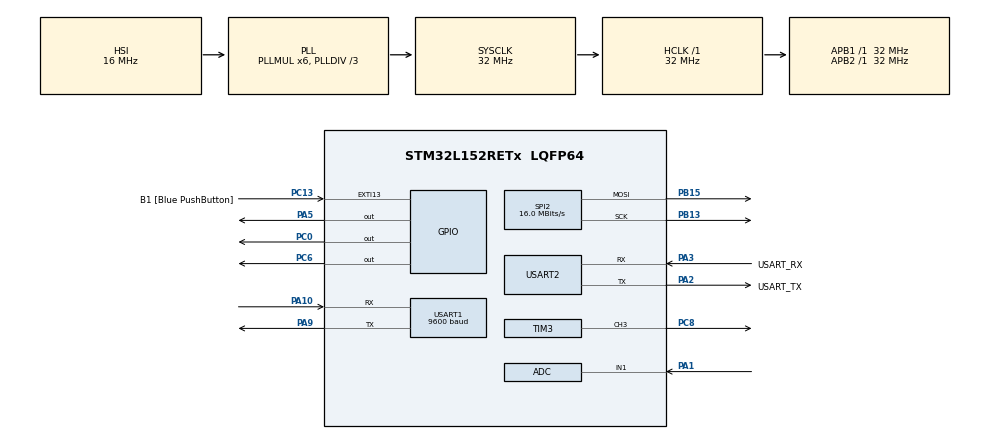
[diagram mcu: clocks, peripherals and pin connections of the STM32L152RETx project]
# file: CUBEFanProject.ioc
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Mcu.Family=STM32L1
PH0-OSC_IN.Signal=RCC_OSC_IN
Dma.TIM3_CH3.0.Mode=DMA_CIRCULAR
SPI2.VirtualType=VM_MASTER
USART1.BaudRate=9600
PA14.GPIO_Label=TCK
Dma.TIM3_CH3.0.PeriphInc=DMA_PINC_DISABLE
PB15.Signal=SPI2_MOSI
PB13.Signal=SPI2_SCK
RCC.SYSCLKSource=RCC_SYSCLKSOURCE_PLLCLK
ProjectManager.StackSize=0x400
RCC.PLLDIV=RCC_PLL_DIV3
NVIC.ADC1_IRQn=true\:0\:0\:false\:false\:true\:true\:true
RCC.HCLKFreq_Value=32000000
PC13-WKUP2.GPIO_Label=B1 [Blue PushButton]
RCC.APB2TimFreq_Value=32000000
TIM3.Period=99
VP_TIM10_VS_ClockSourceINT.Mode=Internal
ADC.Rank-6\#ChannelRegularConversion=1
RCC.AHBFreq_Value=32000000
PH0-OSC_IN.Mode=HSE-External-Clock-Source
RCC.HSE_VALUE=8000000
PC13-WKUP2.Signal=GPXTI13
RCC.PLLMUL=RCC_PLL_MUL6
PC14-OSC32_IN.Mode=LSE-External-Oscillator
RCC.RTCClockSelectionVirtual=RCC_RTCCLKSOURCE_LSE
PA14.Mode=Serial_Wire
TIM3.Prescaler=3199
SPI2.CalculateBaudRate=16.0 MBits/s
NVIC.SPI2_IRQn=true\:0\:0\:false\:false\:true\:true\:true
NVIC.TIM10_IRQn=true\:0\:0\:false\:false\:true\:true\:true
Dma.TIM3_CH3.0.MemInc=DMA_MINC_ENABLE
Mcu.Package=LQFP64
Dma.TIM3_CH3.0.Instance=DMA1_Channel2
SPI2.Mode=SPI_MODE_MASTER
USART2.VirtualMode=VM_ASYNC
RCC.USBOutput=48000000
PA2.GPIO_Label=USART_TX
PA10.Signal=USART1_RX
ADC.Resolution=ADC_RESOLUTION_10B
RCC.APB1TimFreq_Value=32000000
SPI2.Direction=SPI_DIRECTION_2LINES
PB13.Mode=TX_Only_Simplex_Unidirect_Master
NVIC.USART1_IRQn=true\:0\:0\:false\:false\:true\:true\:true
Dma.Request0=TIM3_CH3
VP_TIM3_VS_ClockSourceINT.Mode=Internal
ADC.Channel-6\#ChannelRegularConversion=ADC_CHANNEL_1
PA3.Signal=USART2_RX
PB3.GPIO_Label=SWO
RCC.MSI_VALUE=2097000
TIM10.Prescaler=15999
PC15-OSC32_OUT.Mode=LSE-External-Oscillator
ADC.SamplingTime-6\#ChannelRegularConversion=ADC_SAMPLETIME_48CYCLES
Dma.TIM3_CH3.0.MemDataAlignment=DMA_MDATAALIGN_HALFWORD
PA10.Mode=Asynchronous
Dma.TIM3_CH3.0.Priority=DMA_PRIORITY_LOW
PC8.Signal=S_TIM3_CH3
PC6.Signal=GPIO_Output
PC0.Signal=GPIO_Output
PC14-OSC32_IN.Signal=RCC_OSC32_IN
ADC.ClockPrescaler=ADC_CLOCK_ASYNC_DIV4
SH.S_TIM3_CH3.0=TIM3_CH3,PWM Generation3 CH3
NVIC.USART2_IRQn=true\:0\:0\:false\:false\:true\:true\:true
Dma.TIM3_CH3.0.Direction=DMA_MEMORY_TO_PERIPH
PA13.Signal=SYS_JTMS-SWDIO
PA3.Mode=Asynchronous
TIM3.Channel-PWM\ Generation3\ CH3=TIM_CHANNEL_3
PA9.Mode=Asynchronous
NVIC.DMA1_Channel2_IRQn=true\:0\:0\:false\:false\:true\:false\:true
ProjectManager.TargetToolchain=SW4STM32
PA9.Signal=USART1_TX
ADC.NbrOfConversionFlag=1
PC15-OSC32_OUT.Signal=RCC_OSC32_OUT
PA1.Signal=ADC_IN1
PA5.Signal=GPIO_Output
board=NUCLEO-L152RE
RCC.VCOOutputFreq_Value=96000000
PB15.Mode=TX_Only_Simplex_Unidirect_Master
TIM10.Period=3199
RCC.APB2Freq_Value=32000000
PA1.Mode=IN1
PH1-OSC_OUT.Signal=RCC_OSC_OUT
ADC.EOCSelection=ADC_EOC_SINGLE_CONV
PA13.Mode=Serial_Wire
Mcu.Name=STM32L152RETx
PA13.GPIO_Label=TMS
PA2.Signal=USART2_TX
RCC.48MHZClocksFreq_Value=48000000
PB3.Signal=SYS_JTDO-TRACESWO
RCC.SYSCLKFreq_VALUE=32000000
USART1.VirtualMode=VM_ASYNC
Dma.TIM3_CH3.0.PeriphDataAlignment=DMA_PDATAALIGN_HALFWORD
PA14.Signal=SYS_JTCK-SWCLK
ProjectManager.HeapSize=0x200
RCC.HSI_VALUE=16000000
NVIC.PriorityGroup=NVIC_PRIORITYGROUP_0
PA2.Mode=Asynchronous
RCC.APB1Freq_Value=32000000
ADC.ContinuousConvMode=ENABLE
PA3.GPIO_Label=USART_RX

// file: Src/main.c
/* USER CODE BEGIN Header */
/**
  ******************************************************************************
  * @file           : main.c
  * @brief          : Main program body
  ******************************************************************************
  * @attention
  *
  * <h2><center>&copy; Copyright (c) 2020 STMicroelectronics.
  * All rights reserved.</center></h2>
  *
  * This software component is licensed by ST under BSD 3-Clause license,
  * the "License"; You may not use this file except in compliance with the
  * License. You may obtain a copy of the License at:
  *                        opensource.org/licenses/BSD-3-Clause
  *
  ******************************************************************************
  */
/* USER CODE END Header */

#include "main.h"

ADC_HandleTypeDef hadc;

SPI_HandleTypeDef hspi2;

TIM_HandleTypeDef htim3;
TIM_HandleTypeDef htim10;
DMA_HandleTypeDef hdma_tim3_ch3;

UART_HandleTypeDef huart1;
UART_HandleTypeDef huart2;

/* USER CODE BEGIN PV */
const float ADCResolution = 1024.0; // 6 bits resolution
const float minTemperature = 10.0; //[Celcius degrees]
const float maxTemperature = 25.0; //C. Deg / Kelvins ex. if we want to set temperature in range 10 deg - 20 deg then temperatureRange = 10

const float temperatureRange = 15; //maxTemperature - minTemperature;
float SetPoint_Temperature;

uint16_t ADC_Temperature;
uint8_t uint8_SetPoint_Temperature[4];

uint32_t Duty = 0;
uint8_t division;
uint8_t znak = '0';
uint8_t znak2 = '5';
/* USER CODE END PV */

void SystemClock_Config(void);
static void MX_GPIO_Init(void);
static void MX_DMA_Init(void);
static void MX_USART2_UART_Init(void);
static void MX_TIM3_Init(void);
static void MX_TIM10_Init(void);
static void MX_USART1_UART_Init(void);
static void MX_ADC_Init(void);
static void MX_SPI2_Init(void);
/* USER CODE BEGIN PFP */
void calculate7segments(void)
{
	if (Duty==100) znak = '9';
	else znak = (uint8_t)((Duty/10) + 48)  ;
}
void HAL_ADC_ConvCpltCallback(ADC_HandleTypeDef* hadc1)
{
	ADC_Temperature = HAL_ADC_GetValue(&hadc);
	SetPoint_Temperature = ADC_Temperature*temperatureRange/(ADCResolution-1) + minTemperature ;
	Duty = (uint32_t)(ADC_Temperature*100/(ADCResolution-1));
	znak2 = (uint8_t)SetPoint_Temperature;
}

void HAL_TIM_PeriodElapsedCallback(TIM_HandleTypeDef *htim){

	if(htim->Instance == TIM10)
	{

	calculate7segments();

	//HAL_UART_Transmit_IT(&huart2, &znak, 1); // Rozpoczecie nadawania danych z wykorzystaniem przerwan
	HAL_UART_Transmit_IT(&huart1, &znak, 1); // Rozpoczecie nadawania danych z wykorzystaniem przerwan
	HAL_SPI_Transmit_IT(&hspi2,&znak2,1);
	HAL_GPIO_TogglePin(GPIOA,GPIO_PIN_5);
	}

}
/* USER CODE END PFP */

int main(void)
{

  /* MCU Configuration--------------------------------------------------------*/

  /* Reset of all peripherals, Initializes the Flash interface and the Systick. */
  HAL_Init();

  /* Configure the system clock */
  SystemClock_Config();

  /* Initialize all configured peripherals */
  MX_GPIO_Init();
  MX_DMA_Init();
  MX_USART2_UART_Init();
  MX_TIM3_Init();
  MX_TIM10_Init();
  MX_USART1_UART_Init();
  MX_ADC_Init();
  MX_SPI2_Init();
  /* USER CODE BEGIN 2 */
  HAL_ADC_Start_IT(&hadc);
  HAL_TIM_Base_Start_IT(&htim10);
  HAL_TIM_PWM_Start_DMA(&htim3, TIM_CHANNEL_3, &Duty, 1);
  /* USER CODE END 2 */

  /* Infinite loop */
  /* USER CODE BEGIN WHILE */
  while (1)
  {
	  //HAL_GPIO_TogglePin(GPIOC,GPIO_PIN_0);

	  	//HAL_Delay(1000);

    /* USER CODE END WHILE */

  }
}

void SystemClock_Config(void)
{
  RCC_OscInitTypeDef RCC_OscInitStruct = {0};
  RCC_ClkInitTypeDef RCC_ClkInitStruct = {0};

  /** Configure the main internal regulator output voltage
  */
  __HAL_PWR_VOLTAGESCALING_CONFIG(PWR_REGULATOR_VOLTAGE_SCALE1);
  /** Initializes the CPU, AHB and APB busses clocks
  */
  RCC_OscInitStruct.OscillatorType = RCC_OSCILLATORTYPE_HSI;
  RCC_OscInitStruct.HSIState = RCC_HSI_ON;
  RCC_OscInitStruct.HSICalibrationValue = RCC_HSICALIBRATION_DEFAULT;
  RCC_OscInitStruct.PLL.PLLState = RCC_PLL_ON;
  RCC_OscInitStruct.PLL.PLLSource = RCC_PLLSOURCE_HSI;
  RCC_OscInitStruct.PLL.PLLMUL = RCC_PLL_MUL6;
  RCC_OscInitStruct.PLL.PLLDIV = RCC_PLL_DIV3;
  if (HAL_RCC_OscConfig(&RCC_OscInitStruct) != HAL_OK)
  {
    Error_Handler();
  }
  /** Initializes the CPU, AHB and APB busses clocks
  */
  RCC_ClkInitStruct.ClockType = RCC_CLOCKTYPE_HCLK|RCC_CLOCKTYPE_SYSCLK
                              |RCC_CLOCKTYPE_PCLK1|RCC_CLOCKTYPE_PCLK2;
  RCC_ClkInitStruct.SYSCLKSource = RCC_SYSCLKSOURCE_PLLCLK;
  RCC_ClkInitStruct.AHBCLKDivider = RCC_SYSCLK_DIV1;
  RCC_ClkInitStruct.APB1CLKDivider = RCC_HCLK_DIV1;
  RCC_ClkInitStruct.APB2CLKDivider = RCC_HCLK_DIV1;

  if (HAL_RCC_ClockConfig(&RCC_ClkInitStruct, FLASH_LATENCY_1) != HAL_OK)
  {
    Error_Handler();
  }
}

static void MX_ADC_Init(void)
{

  ADC_ChannelConfTypeDef sConfig = {0};

  /** Configure the global features of the ADC (Clock, Resolution, Data Alignment and number of conversion)
  */
  hadc.Instance = ADC1;
  hadc.Init.ClockPrescaler = ADC_CLOCK_ASYNC_DIV4;
  hadc.Init.Resolution = ADC_RESOLUTION_10B;
  hadc.Init.DataAlign = ADC_DATAALIGN_RIGHT;
  hadc.Init.ScanConvMode = ADC_SCAN_DISABLE;
  hadc.Init.EOCSelection = ADC_EOC_SINGLE_CONV;
  hadc.Init.LowPowerAutoWait = ADC_AUTOWAIT_DISABLE;
  hadc.Init.LowPowerAutoPowerOff = ADC_AUTOPOWEROFF_DISABLE;
  hadc.Init.ChannelsBank = ADC_CHANNELS_BANK_A;
  hadc.Init.ContinuousConvMode = ENABLE;
  hadc.Init.NbrOfConversion = 1;
  hadc.Init.DiscontinuousConvMode = DISABLE;
  hadc.Init.ExternalTrigConv = ADC_SOFTWARE_START;
  hadc.Init.ExternalTrigConvEdge = ADC_EXTERNALTRIGCONVEDGE_NONE;
  hadc.Init.DMAContinuousRequests = DISABLE;
  if (HAL_ADC_Init(&hadc) != HAL_OK)
  {
    Error_Handler();
  }
  /** Configure for the selected ADC regular channel its corresponding rank in the sequencer and its sample time.
  */
  sConfig.Channel = ADC_CHANNEL_1;
  sConfig.Rank = ADC_REGULAR_RANK_1;
  sConfig.SamplingTime = ADC_SAMPLETIME_48CYCLES;
  if (HAL_ADC_ConfigChannel(&hadc, &sConfig) != HAL_OK)
  {
    Error_Handler();
  }

}

static void MX_SPI2_Init(void)
{

  /* SPI2 parameter configuration*/
  hspi2.Instance = SPI2;
  hspi2.Init.Mode = SPI_MODE_MASTER;
  hspi2.Init.Direction = SPI_DIRECTION_2LINES;
  hspi2.Init.DataSize = SPI_DATASIZE_8BIT;
  hspi2.Init.CLKPolarity = SPI_POLARITY_LOW;
  hspi2.Init.CLKPhase = SPI_PHASE_1EDGE;
  hspi2.Init.NSS = SPI_NSS_SOFT;
  hspi2.Init.BaudRatePrescaler = SPI_BAUDRATEPRESCALER_2;
  hspi2.Init.FirstBit = SPI_FIRSTBIT_MSB;
  hspi2.Init.TIMode = SPI_TIMODE_DISABLE;
  hspi2.Init.CRCCalculation = SPI_CRCCALCULATION_DISABLE;
  hspi2.Init.CRCPolynomial = 10;
  if (HAL_SPI_Init(&hspi2) != HAL_OK)
  {
    Error_Handler();
  }

}

static void MX_TIM3_Init(void)
{

  TIM_ClockConfigTypeDef sClockSourceConfig = {0};
  TIM_MasterConfigTypeDef sMasterConfig = {0};
  TIM_OC_InitTypeDef sConfigOC = {0};

  htim3.Instance = TIM3;
  htim3.Init.Prescaler = 3199;
  htim3.Init.CounterMode = TIM_COUNTERMODE_UP;
  htim3.Init.Period = 99;
  htim3.Init.ClockDivision = TIM_CLOCKDIVISION_DIV1;
  htim3.Init.AutoReloadPreload = TIM_AUTORELOAD_PRELOAD_DISABLE;
  if (HAL_TIM_Base_Init(&htim3) != HAL_OK)
  {
    Error_Handler();
  }
  sClockSourceConfig.ClockSource = TIM_CLOCKSOURCE_INTERNAL;
  if (HAL_TIM_ConfigClockSource(&htim3, &sClockSourceConfig) != HAL_OK)
  {
    Error_Handler();
  }
  if (HAL_TIM_PWM_Init(&htim3) != HAL_OK)
  {
    Error_Handler();
  }
  sMasterConfig.MasterOutputTrigger = TIM_TRGO_RESET;
  sMasterConfig.MasterSlaveMode = TIM_MASTERSLAVEMODE_DISABLE;
  if (HAL_TIMEx_MasterConfigSynchronization(&htim3, &sMasterConfig) != HAL_OK)
  {
    Error_Handler();
  }
  sConfigOC.OCMode = TIM_OCMODE_PWM1;
  sConfigOC.Pulse = 0;
  sConfigOC.OCPolarity = TIM_OCPOLARITY_HIGH;
  sConfigOC.OCFastMode = TIM_OCFAST_DISABLE;
  if (HAL_TIM_PWM_ConfigChannel(&htim3, &sConfigOC, TIM_CHANNEL_3) != HAL_OK)
  {
    Error_Handler();
  }
  HAL_TIM_MspPostInit(&htim3);

}

static void MX_TIM10_Init(void)
{

  TIM_ClockConfigTypeDef sClockSourceConfig = {0};

  htim10.Instance = TIM10;
  htim10.Init.Prescaler = 15999;
  htim10.Init.CounterMode = TIM_COUNTERMODE_UP;
  htim10.Init.Period = 3199;
  htim10.Init.ClockDivision = TIM_CLOCKDIVISION_DIV1;
  htim10.Init.AutoReloadPreload = TIM_AUTORELOAD_PRELOAD_DISABLE;
  if (HAL_TIM_Base_Init(&htim10) != HAL_OK)
  {
    Error_Handler();
  }
  sClockSourceConfig.ClockSource = TIM_CLOCKSOURCE_INTERNAL;
  if (HAL_TIM_ConfigClockSource(&htim10, &sClockSourceConfig) != HAL_OK)
  {
    Error_Handler();
  }

}

static void MX_USART1_UART_Init(void)
{

  huart1.Instance = USART1;
  huart1.Init.BaudRate = 9600;
  huart1.Init.WordLength = UART_WORDLENGTH_8B;
  huart1.Init.StopBits = UART_STOPBITS_1;
  huart1.Init.Parity = UART_PARITY_NONE;
  huart1.Init.Mode = UART_MODE_TX_RX;
  huart1.Init.HwFlowCtl = UART_HWCONTROL_NONE;
  huart1.Init.OverSampling = UART_OVERSAMPLING_16;
  if (HAL_UART_Init(&huart1) != HAL_OK)
  {
    Error_Handler();
  }

}

static void MX_USART2_UART_Init(void)
{

  huart2.Instance = USART2;
  huart2.Init.BaudRate = 115200;
  huart2.Init.WordLength = UART_WORDLENGTH_8B;
  huart2.Init.StopBits = UART_STOPBITS_1;
  huart2.Init.Parity = UART_PARITY_NONE;
  huart2.Init.Mode = UART_MODE_TX_RX;
  huart2.Init.HwFlowCtl = UART_HWCONTROL_NONE;
  huart2.Init.OverSampling = UART_OVERSAMPLING_16;
  if (HAL_UART_Init(&huart2) != HAL_OK)
  {
    Error_Handler();
  }

}

static void MX_DMA_Init(void)
{

  /* DMA controller clock enable */
  __HAL_RCC_DMA1_CLK_ENABLE();

  /* DMA interrupt init */
  /* DMA1_Channel2_IRQn interrupt configuration */
  HAL_NVIC_SetPriority(DMA1_Channel2_IRQn, 0, 0);
  HAL_NVIC_EnableIRQ(DMA1_Channel2_IRQn);

}

static void MX_GPIO_Init(void)
{
  GPIO_InitTypeDef GPIO_InitStruct = {0};

  /* GPIO Ports Clock Enable */
  __HAL_RCC_GPIOC_CLK_ENABLE();
  __HAL_RCC_GPIOH_CLK_ENABLE();
  __HAL_RCC_GPIOA_CLK_ENABLE();
  __HAL_RCC_GPIOB_CLK_ENABLE();

  /*Configure GPIO pin Output Level */
  HAL_GPIO_WritePin(GPIOC, GPIO_PIN_0|GPIO_PIN_6, GPIO_PIN_RESET);

  /*Configure GPIO pin Output Level */
  HAL_GPIO_WritePin(GPIOA, GPIO_PIN_5, GPIO_PIN_RESET);

  /*Configure GPIO pin : B1_Pin */
  GPIO_InitStruct.Pin = B1_Pin;
  GPIO_InitStruct.Mode = GPIO_MODE_IT_RISING;
  GPIO_InitStruct.Pull = GPIO_NOPULL;
  HAL_GPIO_Init(B1_GPIO_Port, &GPIO_InitStruct);

  /*Configure GPIO pins : PC0 PC6 */
  GPIO_InitStruct.Pin = GPIO_PIN_0|GPIO_PIN_6;
  GPIO_InitStruct.Mode = GPIO_MODE_OUTPUT_PP;
  GPIO_InitStruct.Pull = GPIO_NOPULL;
  GPIO_InitStruct.Speed = GPIO_SPEED_FREQ_LOW;
  HAL_GPIO_Init(GPIOC, &GPIO_InitStruct);

  /*Configure GPIO pin : PA5 */
  GPIO_InitStruct.Pin = GPIO_PIN_5;
  GPIO_InitStruct.Mode = GPIO_MODE_OUTPUT_PP;
  GPIO_InitStruct.Pull = GPIO_NOPULL;
  GPIO_InitStruct.Speed = GPIO_SPEED_FREQ_LOW;
  HAL_GPIO_Init(GPIOA, &GPIO_InitStruct);

}

void Error_Handler(void)
{
}

/************************ (C) COPYRIGHT STMicroelectronics *****END OF FILE****/
